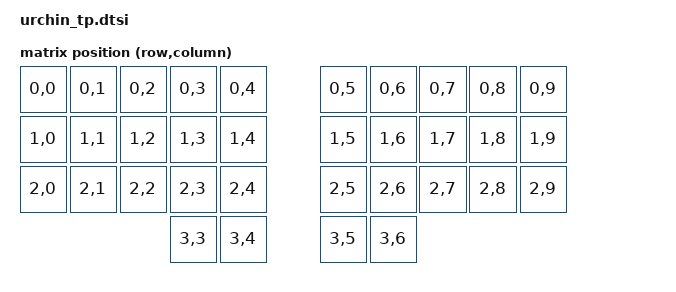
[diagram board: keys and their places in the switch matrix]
/*
 * Copyright (c) 2022 Duccio Breschi
 *
 * SPDX-License-Identifier: MIT
 */

#include <dt-bindings/zmk/matrix_transform.h>


/ {
    chosen {
        zmk,kscan = &kscan0;
        zmk,matrix_transform = &default_transform;
    };

    default_transform: keymap_transform_0 {
        compatible = "zmk,matrix-transform";
        columns = <10>;
        rows = <4>;

        map = <
            RC(0,0)     RC(0,1)     RC(0,2)     RC(0,3)     RC(0,4)         RC(0,5)     RC(0,6)     RC(0,7)     RC(0,8 )    RC(0,9)
            RC(1,0)     RC(1,1)     RC(1,2)     RC(1,3)     RC(1,4)         RC(1,5)     RC(1,6)     RC(1,7)     RC(1,8)     RC(1,9)
            RC(2,0)     RC(2,1)     RC(2,2)     RC(2,3)     RC(2,4)         RC(2,5)     RC(2,6)     RC(2,7)     RC(2,8)     RC(2,9)
                                                RC(3,3)     RC(3,4)         RC(3,5)     RC(3,6)
        >;
    };

    kscan0: kscan {        
        compatible = "zmk,kscan-gpio-matrix";
        wakeup-source;
    };
};


/*
*   For ZMK Split Input Peripheral
*
*/

/{
  split_inputs {
    #address-cells = <1>;
    #size-cells = <0>;
    tpoint_split: tpoint_split@0 { compatible = "zmk,input-split"; reg = <0>; };
  };
  
  // We need to add a listener to all the splits,
  // i.e., for both the central and peripheral(s).
  tpoint_listener: tpoint_listener {
        compatible = "zmk,input-listener";
        status = "disabled";
        device = <&tpoint_split>;
  };
};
